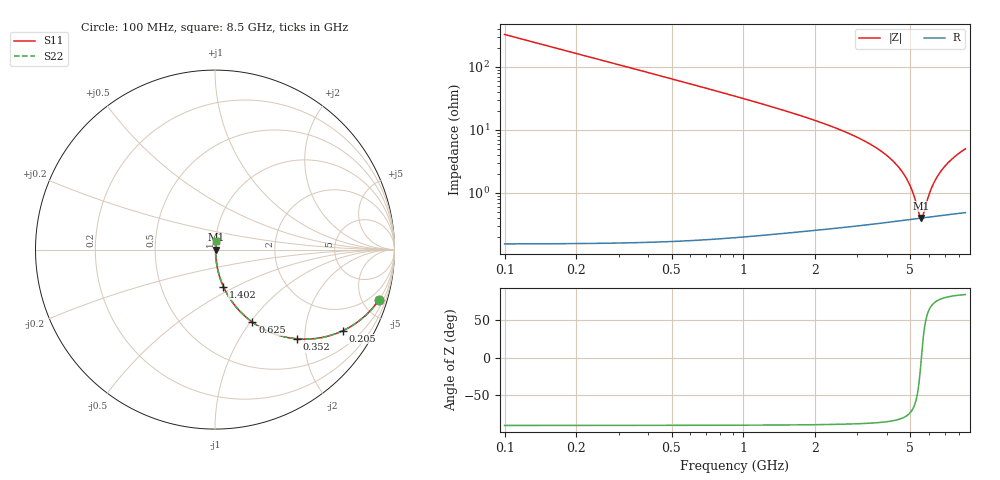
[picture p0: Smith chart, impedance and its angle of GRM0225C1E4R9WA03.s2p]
!Murata Part Number: GRM0225C1E4R9WA03
!These Parameters are Measured in Series Mode Connection
!Data Generated on Mar 30, 2021
!  o--ll--o
!Port1  Port2
!  o------o
!Operation Temp=25[degC], DC Bias Voltage=0[V]
!Freq. Start=100[MHz] Stop=9[GHz] 401[Steps]
# Hz S RI R 50
!Freq.(Hz) S11(Real) S11(Imag) S21(Real) S21(Imag) S12(Real) S12(Imag) S22(Real) S22(Imag)
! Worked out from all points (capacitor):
!   401 points, 100 MHz to 8.5 GHz, reference 50 ohm
!   read as one part in series: C = 4.9 pF near 142 MHz
!   lowest |Z| = 402 mohm at 5.56 GHz (marker M1)
!   series resonance near 5.559 GHz, so ESL is about 170 pH
!   S11 on the Smith chart (normalised r, x): 100 MHz: 1.00, -6.49; 205 MHz: 1.00, -3.16; 352 MHz: 1.00, -1.84; 625 MHz: 1.00, -1.03; 1.402 GHz: 1.00, -0.43; 8.5 GHz: 1.01, +0.10
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1e8  0.9133 -0.2812  0.0867 0.2812  0.0867 0.2812  0.9133 -0.2812
2.05e8  0.7143 -0.4512  0.2857 0.4512  0.2857 0.4512  0.7143 -0.4512
3.52e8  0.4578 -0.4973  0.5422 0.4973  0.5422 0.4973  0.4578 -0.4973
4.78e8  0.3129 -0.4624  0.6871 0.4624  0.6871 0.4624  0.3129 -0.4624
6.25e8  0.2089 -0.4048  0.7911 0.4048  0.7911 0.4048  0.2089 -0.4048
9.4e8  0.1023 -0.3001  0.8977 0.3001  0.8977 0.3001  0.1023 -0.3001
1.402e9  0.0466 -0.2057  0.9534 0.2057  0.9534 0.2057  0.0466 -0.2057
1.507e9  0.0401 -0.1905  0.9599 0.1905  0.9599 0.1905  0.0401 -0.1905
2.914e9  0.0093 -0.0792  0.9907 0.0792  0.9907 0.0792  0.0093 -0.0792
3.733e9  0.00551 -0.0469  0.9945 0.0469  0.9945 0.0469  0.00551 -0.0469
4.3e9  0.00442 -0.0297  0.9956 0.0297  0.9956 0.0297  0.00442 -0.0297
4.657e9  0.00409 -0.0204  0.9959 0.0204  0.9959 0.0204  0.00409 -0.0204
4.93e9  0.00396 -0.0138  0.996 0.0138  0.996 0.0138  0.00396 -0.0138
5.161e9  0.00393 -0.0085  0.9961 0.0085  0.9961 0.0085  0.00393 -0.0085
5.455e9  0.00397 -0.00216  0.996 0.00216  0.996 0.00216  0.00397 -0.00216
5.56e9  0.004 1.64e-05  0.996 -1.64e-05  0.996 -1.64e-05  0.004 1.64e-05
5.707e9  0.00406 0.00299  0.9959 -0.00299  0.9959 -0.00299  0.00406 0.00299
5.98e9  0.00422 0.00832  0.9958 -0.00832  0.9958 -0.00832  0.00422 0.00832
6.253e9  0.00442 0.0134  0.9956 -0.0134  0.9956 -0.0134  0.00442 0.0134
6.631e9  0.00477 0.0201  0.9952 -0.0201  0.9952 -0.0201  0.00477 0.0201
7.114e9  0.00531 0.0282  0.9947 -0.0282  0.9947 -0.0282  0.00531 0.0282
8.5e9  0.00732 0.0493  0.9927 -0.0493  0.9927 -0.0493  0.00732 0.0493
